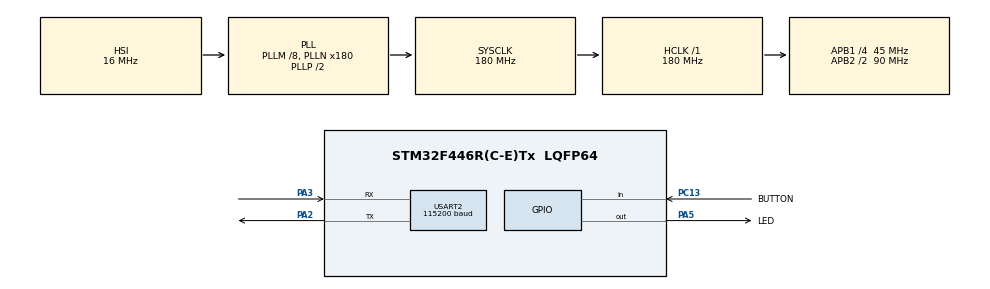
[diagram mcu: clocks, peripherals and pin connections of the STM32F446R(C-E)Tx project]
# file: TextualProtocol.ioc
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Mcu.Family=STM32F4
Mcu.Name=STM32F446R(C-E)Tx
Mcu.Package=LQFP64
NVIC.PriorityGroup=NVIC_PRIORITYGROUP_4
NVIC.TIM1_BRK_TIM9_IRQn=true\:0\:0\:false\:false\:true\:true\:true\:true
NVIC.USART2_IRQn=true\:0\:0\:false\:false\:true\:true\:true\:true
PA13.Mode=Serial_Wire
PA13.Signal=SYS_JTMS-SWDIO
PA14.Mode=Serial_Wire
PA14.Signal=SYS_JTCK-SWCLK
PA2.Mode=Asynchronous
PA2.Signal=USART2_TX
PA3.Mode=Asynchronous
PA3.Signal=USART2_RX
PA5.GPIO_Label=LED
PA5.Signal=GPIO_Output
PC13.GPIO_Label=BUTTON
PC13.Signal=GPIO_Input
ProjectManager.HeapSize=0x200
ProjectManager.StackSize=0x400
ProjectManager.TargetToolchain=STM32CubeIDE
RCC.AHBFreq_Value=180000000
RCC.APB1CLKDivider=RCC_HCLK_DIV4
RCC.APB1Freq_Value=45000000
RCC.APB1TimFreq_Value=90000000
RCC.APB2CLKDivider=RCC_HCLK_DIV2
RCC.APB2Freq_Value=90000000
RCC.APB2TimFreq_Value=180000000
RCC.CortexFreq_Value=180000000
RCC.HCLKFreq_Value=180000000
RCC.PLLM=8
RCC.PLLN=180
RCC.SYSCLKFreq_VALUE=180000000
RCC.SYSCLKSource=RCC_SYSCLKSOURCE_PLLCLK
RCC.USBFreq_Value=180000000
RCC.VCOOutputFreq_Value=360000000
TIM9.Period=3665
TIM9.Prescaler=5-1
USART2.BaudRate=115200
USART2.VirtualMode=VM_ASYNC
VP_TIM9_VS_ClockSourceINT.Mode=Internal
board=custom

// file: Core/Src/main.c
/* USER CODE BEGIN Header */
/**
  ******************************************************************************
  * @file           : main.c
  * @brief          : Main program body
  ******************************************************************************
  * @attention
  *
  * Copyright (c) 2024 STMicroelectronics.
  * All rights reserved.
  *
  * This software is licensed under terms that can be found in the LICENSE file
  * in the root directory of this software component.
  * If no LICENSE file comes with this software, it is provided AS-IS.
  *
  ******************************************************************************
  */
/* USER CODE END Header */
#include "main.h"

TIM_HandleTypeDef htim9;

UART_HandleTypeDef huart2;

/* USER CODE BEGIN PV */

uint8_t receivedByte = 0x00;
uint8_t stateMachine = 0x00;

uint16_t sendDataDelay = 0;
uint16_t blinkLedDelay = 0;

App app;

/* USER CODE END PV */

void SystemClock_Config(void);
static void MX_GPIO_Init(void);
static void MX_TIM9_Init(void);
static void MX_USART2_UART_Init(void);

/* USER CODE BEGIN 0 */

/*
 * Timer interrupt handling (100us)
 */
void HAL_TIM_PeriodElapsedCallback(TIM_HandleTypeDef *htim)
{
	if (htim == &htim9)
	{
		sendDataDelay++;
		blinkLedDelay++;
	}
}

/*
 * Interrupt for UART RX
 */
void HAL_UART_RxCpltCallback(UART_HandleTypeDef *huart)
{
	if (huart == &huart2)
	{
		HAL_UART_Receive_IT(&huart2, &receivedByte, 1);
		if (appGetTpEchoEnable(&app) == TRUE)
		{
			HAL_UART_Transmit(&huart2, &receivedByte, 1, HAL_MAX_DELAY);
		}
		appAppendTpByte(&app, receivedByte);
		receivedByte = 0x00;
	}
}

/* USER CODE END 0 */

int main(void)
{

  /* MCU Configuration--------------------------------------------------------*/

  /* Reset of all peripherals, Initializes the Flash interface and the Systick. */
  HAL_Init();

  /* Configure the system clock */
  SystemClock_Config();

  /* Initialize all configured peripherals */
  MX_GPIO_Init();
  MX_TIM9_Init();
  MX_USART2_UART_Init();
  /* USER CODE BEGIN 2 */

  HAL_TIM_Base_Start_IT(&htim9);
  appInit(&app, LED_GPIO_Port, LED_Pin, huart2);
  HAL_UART_Receive_IT(&huart2, &receivedByte, 1);

  /* USER CODE END 2 */

  /* Infinite loop */
  while (1)
  {

    /* USER CODE BEGIN 3 */

	  /* ============================================================================= */

	  /********************************* TOP SLOT START ********************************/

	  /* Put here the code to be executed in all cycles before the state machine */

	  /********************************** TOP SLOT END *********************************/

	  /* ============================================================================= */

	  /****************************** STATE MACHINE START ******************************/

	  switch (stateMachine)
	  {
		  case 0:
			  if (blinkLedDelay >= appGetBlinkDelay(&app))
			  {
				  appExecuteBlinkLed(&app);
				  blinkLedDelay = 0;
			  }
			  stateMachine = 1;
			  break;

		  case 1:
			  appExtractTpData(&app);
			  stateMachine = 2;
			  break;

		  case 2:
			  appDecodeExtractedTpCommand(&app);
			  stateMachine = 3;
			  break;

		  case 3:
			  stateMachine = 4;
			  if (appGetCommandStatus(&app) == VALID_RX_COMMAND)
			  {
				  appExecuteReceivedCommandRoutine(&app);
			  }
			  break;

		  case 4:
			  stateMachine = 5;
			  break;

		  case 5:
			  if (sendDataDelay >= DELAY_5000_MILISECONDS)
			  {
				  sendDataDelay = 0;
			  }
			  stateMachine = 0;
			  break;

		  default:
			  stateMachine = 0;
			  break;
	  }

	  /******************************* STATE MACHINE END *******************************/

	  /* ============================================================================= */

	  /******************************* BOTTOM SLOT START *******************************/

	  /* Put here the code to be executed in all cycles after the state machine */

	  /******************************** BOTTOM SLOT END ********************************/

	  /* ============================================================================= */
  }
  /* USER CODE END 3 */
}

void SystemClock_Config(void)
{
  RCC_OscInitTypeDef RCC_OscInitStruct = {0};
  RCC_ClkInitTypeDef RCC_ClkInitStruct = {0};

  /** Configure the main internal regulator output voltage
  */
  __HAL_RCC_PWR_CLK_ENABLE();
  __HAL_PWR_VOLTAGESCALING_CONFIG(PWR_REGULATOR_VOLTAGE_SCALE1);

  /** Initializes the RCC Oscillators according to the specified parameters
  * in the RCC_OscInitTypeDef structure.
  */
  RCC_OscInitStruct.OscillatorType = RCC_OSCILLATORTYPE_HSI;
  RCC_OscInitStruct.HSIState = RCC_HSI_ON;
  RCC_OscInitStruct.HSICalibrationValue = RCC_HSICALIBRATION_DEFAULT;
  RCC_OscInitStruct.PLL.PLLState = RCC_PLL_ON;
  RCC_OscInitStruct.PLL.PLLSource = RCC_PLLSOURCE_HSI;
  RCC_OscInitStruct.PLL.PLLM = 8;
  RCC_OscInitStruct.PLL.PLLN = 180;
  RCC_OscInitStruct.PLL.PLLP = RCC_PLLP_DIV2;
  RCC_OscInitStruct.PLL.PLLQ = 2;
  RCC_OscInitStruct.PLL.PLLR = 2;
  if (HAL_RCC_OscConfig(&RCC_OscInitStruct) != HAL_OK)
  {
    Error_Handler();
  }

  /** Activate the Over-Drive mode
  */
  if (HAL_PWREx_EnableOverDrive() != HAL_OK)
  {
    Error_Handler();
  }

  /** Initializes the CPU, AHB and APB buses clocks
  */
  RCC_ClkInitStruct.ClockType = RCC_CLOCKTYPE_HCLK|RCC_CLOCKTYPE_SYSCLK
                              |RCC_CLOCKTYPE_PCLK1|RCC_CLOCKTYPE_PCLK2;
  RCC_ClkInitStruct.SYSCLKSource = RCC_SYSCLKSOURCE_PLLCLK;
  RCC_ClkInitStruct.AHBCLKDivider = RCC_SYSCLK_DIV1;
  RCC_ClkInitStruct.APB1CLKDivider = RCC_HCLK_DIV4;
  RCC_ClkInitStruct.APB2CLKDivider = RCC_HCLK_DIV2;

  if (HAL_RCC_ClockConfig(&RCC_ClkInitStruct, FLASH_LATENCY_5) != HAL_OK)
  {
    Error_Handler();
  }
}

static void MX_TIM9_Init(void)
{

  TIM_ClockConfigTypeDef sClockSourceConfig = {0};

  htim9.Instance = TIM9;
  htim9.Init.Prescaler = 5-1;
  htim9.Init.CounterMode = TIM_COUNTERMODE_UP;
  htim9.Init.Period = 3665;
  htim9.Init.ClockDivision = TIM_CLOCKDIVISION_DIV1;
  htim9.Init.AutoReloadPreload = TIM_AUTORELOAD_PRELOAD_DISABLE;
  if (HAL_TIM_Base_Init(&htim9) != HAL_OK)
  {
    Error_Handler();
  }
  sClockSourceConfig.ClockSource = TIM_CLOCKSOURCE_INTERNAL;
  if (HAL_TIM_ConfigClockSource(&htim9, &sClockSourceConfig) != HAL_OK)
  {
    Error_Handler();
  }

}

static void MX_USART2_UART_Init(void)
{

  huart2.Instance = USART2;
  huart2.Init.BaudRate = 115200;
  huart2.Init.WordLength = UART_WORDLENGTH_8B;
  huart2.Init.StopBits = UART_STOPBITS_1;
  huart2.Init.Parity = UART_PARITY_NONE;
  huart2.Init.Mode = UART_MODE_TX_RX;
  huart2.Init.HwFlowCtl = UART_HWCONTROL_NONE;
  huart2.Init.OverSampling = UART_OVERSAMPLING_16;
  if (HAL_UART_Init(&huart2) != HAL_OK)
  {
    Error_Handler();
  }

}

static void MX_GPIO_Init(void)
{
  GPIO_InitTypeDef GPIO_InitStruct = {0};

  /* GPIO Ports Clock Enable */
  __HAL_RCC_GPIOC_CLK_ENABLE();
  __HAL_RCC_GPIOA_CLK_ENABLE();

  /*Configure GPIO pin Output Level */
  HAL_GPIO_WritePin(LED_GPIO_Port, LED_Pin, GPIO_PIN_RESET);

  /*Configure GPIO pin : BUTTON_Pin */
  GPIO_InitStruct.Pin = BUTTON_Pin;
  GPIO_InitStruct.Mode = GPIO_MODE_INPUT;
  GPIO_InitStruct.Pull = GPIO_NOPULL;
  HAL_GPIO_Init(BUTTON_GPIO_Port, &GPIO_InitStruct);

  /*Configure GPIO pin : LED_Pin */
  GPIO_InitStruct.Pin = LED_Pin;
  GPIO_InitStruct.Mode = GPIO_MODE_OUTPUT_PP;
  GPIO_InitStruct.Pull = GPIO_NOPULL;
  GPIO_InitStruct.Speed = GPIO_SPEED_FREQ_LOW;
  HAL_GPIO_Init(LED_GPIO_Port, &GPIO_InitStruct);

}

void Error_Handler(void)
{
  __disable_irq();
  while (1)
  {
  }
}
